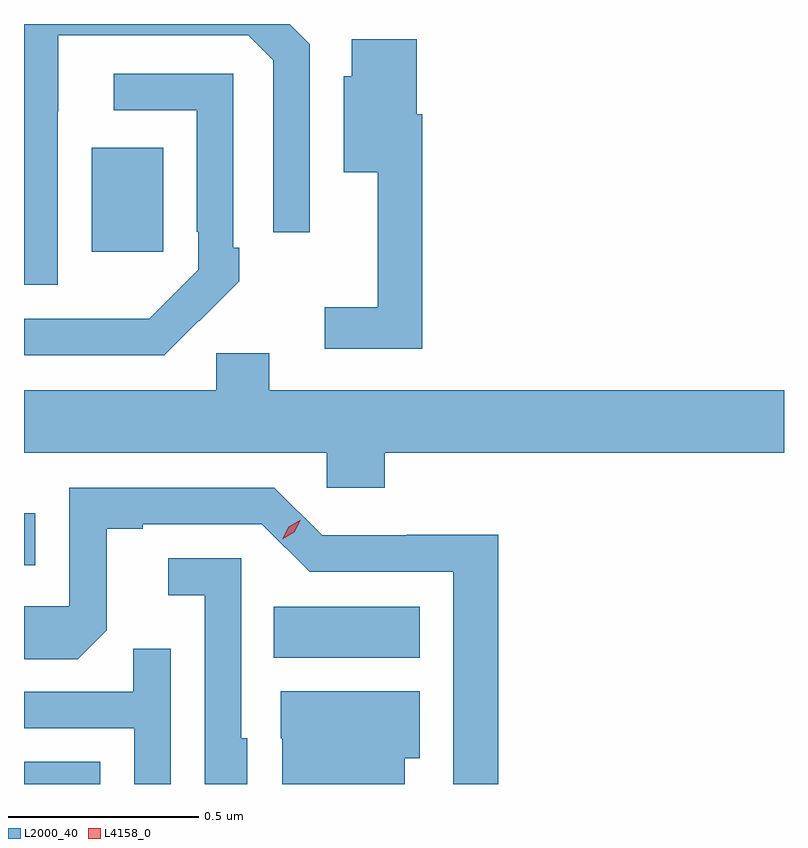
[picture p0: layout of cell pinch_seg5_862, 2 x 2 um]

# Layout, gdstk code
import gdstk
lib = gdstk.Library(unit=1e-6, precision=1e-09)
def R(c, l, rs):  # rectangles x0, y0, x1, y1
    for r in rs: c.add(gdstk.rectangle(r[:2], r[2:], *l))
def P(c, l, *ps):  # polygons
    for p in ps: c.add(gdstk.Polygon(p, *l))
L2000_40 = (2000, 40)
L4158_0 = (4158, 0)

pinch_seg5_862 = lib.new_cell('pinch_seg5_862')
R(pinch_seg5_862, L2000_40, [(782.953,890.52,783.154,890.578), (783.61,890.852,783.994,890.986), (782.953,891.096,782.983,891.232), (783.131,891.921,783.319,892.195)])
P(pinch_seg5_862, L2000_40, [(783.042,892.291),(783.043,892.291),(783.043,892.491),(783.543,892.491),(783.609,892.425),(783.609,891.972),(783.705,891.972),(783.705,892.467),(783.652,892.52),(782.953,892.52),(782.953,891.834),(783.042,891.834)],
  [(784.001,892.283),(783.986,892.283),(783.986,892.48),(783.815,892.48),(783.815,892.383),(783.794,892.383),(783.794,892.13),(783.884,892.13),(783.884,891.775),(783.744,891.775),(783.744,891.666),(784.001,891.666)],
  [(783.413,891.739),(783.414,891.738),(783.519,891.843),(783.519,891.931),(783.504,891.931),(783.504,892.389),(783.189,892.389),(783.189,892.293),(783.408,892.293),(783.408,891.973),(783.411,891.973),(783.411,891.873),(783.283,891.745),(783.179,891.745),(783.179,891.744),(782.953,891.744),(782.953,891.648),(783.322,891.648)],
  [(783.902,891.392),(784.953,891.392),(784.953,891.556),(783.598,891.556),(783.598,891.654),(783.459,891.654),(783.459,891.556),(782.953,891.556),(782.953,891.392),(783.75,891.392),(783.75,891.299),(783.902,891.299)],
  [(784.201,891.176),(783.96,891.176),(783.96,891.174),(783.738,891.174),(783.612,891.3),(783.072,891.3),(783.072,890.988),(782.953,890.988),(782.953,890.848),(783.095,890.848),(783.171,890.924),(783.171,891.192),(783.265,891.192),(783.265,891.204),(783.579,891.204),(783.705,891.078),(784.082,891.078),(784.082,890.52),(784.201,890.52)],
  [(783.54,890.64),(783.525,890.64),(783.525,891.114),(783.333,891.114),(783.333,891.017),(783.429,891.017),(783.429,890.52),(783.54,890.52)],
  [(783.339,890.876),(783.241,890.876),(783.241,890.763),(782.953,890.763),(782.953,890.667),(783.243,890.667),(783.243,890.52),(783.339,890.52)],
  [(783.955,890.588),(783.994,890.588),(783.994,890.764),(783.629,890.764),(783.629,890.64),(783.633,890.64),(783.633,890.52),(783.955,890.52)])
P(pinch_seg5_862, L4158_0, [(783.633,891.164),(783.633,891.164),(783.65,891.197),(783.681,891.216),(783.681,891.216),(783.681,891.216),(783.664,891.183),(783.633,891.164)])

lib.write_gds('pinch_seg5_862.gds')
